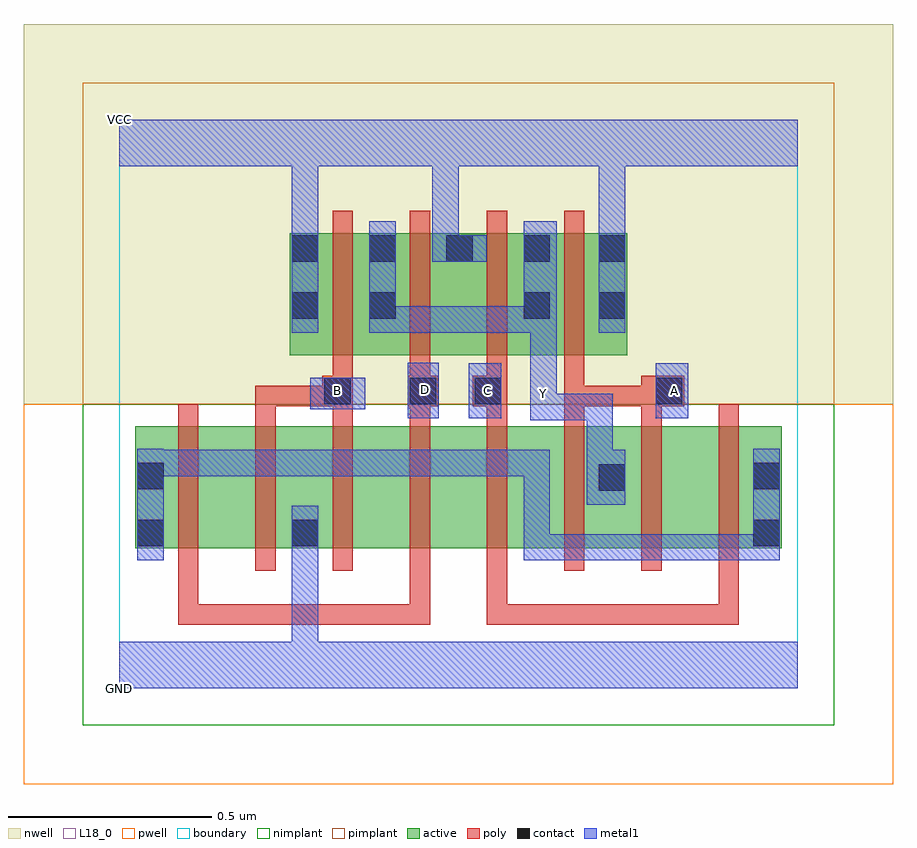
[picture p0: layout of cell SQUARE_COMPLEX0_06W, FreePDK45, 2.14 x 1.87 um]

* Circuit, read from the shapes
.subckt SQUARE_COMPLEX0_06W A B C D GND VCC Y
M1 n1 D n2 VSUBS nfet w=0.3u l=0.05u
M2 GND B n1 VSUBS nfet w=0.3u l=0.05u
M3 n3 B GND VSUBS nfet w=0.3u l=0.05u
M4 n4 D n3 VSUBS nfet w=0.3u l=0.05u
M5 n5 C n4 VSUBS nfet w=0.3u l=0.05u
M6 Y A n5 VSUBS nfet w=0.3u l=0.05u
M7 n6 A Y VSUBS nfet w=0.3u l=0.05u
M8 n2 C n6 VSUBS nfet w=0.3u l=0.05u
M9 Y B VCC n7 pfet w=0.3u l=0.05u
M10 VCC D Y n7 pfet w=0.3u l=0.05u
M11 Y C VCC n7 pfet w=0.3u l=0.05u
M12 VCC A Y n7 pfet w=0.3u l=0.05u
.ends

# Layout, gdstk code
import gdstk
lib = gdstk.Library(unit=1e-6, precision=1e-09)
def R(c, l, rs):  # rectangles x0, y0, x1, y1
    for r in rs: c.add(gdstk.rectangle(r[:2], r[2:], *l))
def A(c, l, x, y, w, h, nx, ny, dx, dy):  # array of equal rectangles
    R(c, l, [(x+i*dx, y+j*dy, x+i*dx+w, y+j*dy+h) for i in range(nx) for j in range(ny)])
active = (1, 0)
pwell = (2, 0)
nwell = (3, 0)
nimplant = (4, 0)
pimplant = (5, 0)
poly = (9, 0)
contact = (10, 0)
metal1 = (11, 0)
L18_0 = (18, 0)
boundary = (235, 0)

square_complex0_06w = lib.new_cell('SQUARE_COMPLEX0_06W')
A(square_complex0_06w, active, 0.42, 0.82, 0.075, 0.3, 4, 1, 0.19, 0)
A(square_complex0_06w, active, 0.42, 0.82, 0.265, 0.3, 3, 1, 0.19, 0)
R(square_complex0_06w, active, [(0.04,0.345,0.115,0.645), (0.04,0.345,0.265,0.645), (0.265,0.345,0.495,0.645), (0.42,0.345,0.495,0.645), (0.42,0.345,0.645,0.645), (0.645,0.345,0.835,0.645), (0.835,0.345,1.025,0.645), (1.025,0.345,1.25,0.645), (1.175,0.345,1.25,0.645), (1.175,0.345,1.405,0.645), (1.405,0.345,1.63,0.645), (1.555,0.345,1.63,0.645), (0.99,0.82,1.25,1.12), (1.175,0.82,1.25,1.12)])
R(square_complex0_06w, pwell, [(-0.235,-0.235,1.905,0.7)])
R(square_complex0_06w, nwell, [(-0.235,0.7,1.905,1.635)])
R(square_complex0_06w, nimplant, [(-0.09,-0.09,1.76,0.7)])
R(square_complex0_06w, pimplant, [(-0.09,0.7,1.76,1.49)])
A(square_complex0_06w, poly, 0.145, 0.29, 0.05, 0.41, 8, 1, 0.19, 0)
A(square_complex0_06w, poly, 0.335, 0.65, 0.05, 0.095, 6, 1, 0.19, 0)
A(square_complex0_06w, poly, 0.525, 0.72, 0.05, 0.095, 3, 1, 0.19, 0)
A(square_complex0_06w, poly, 0.525, 0.765, 0.05, 0.41, 4, 1, 0.19, 0)
R(square_complex0_06w, poly, [(0.145,0.157,0.195,0.34), (0.145,0.157,0.195,0.207), (0.145,0.157,0.327,0.207), (0.277,0.157,0.327,0.207), (0.277,0.157,0.327,0.207), (0.277,0.157,0.327,0.207), (0.277,0.157,0.517,0.207), (0.467,0.157,0.517,0.207), (0.467,0.157,0.517,0.207), (0.467,0.157,0.517,0.207), (0.467,0.157,0.765,0.207), (0.715,0.157,0.765,0.34), (0.715,0.157,0.765,0.207), (0.715,0.157,0.765,0.207), (0.715,0.157,0.765,0.207), (0.905,0.157,0.955,0.34), (0.905,0.157,0.955,0.207), (0.905,0.157,0.955,0.207), (0.905,0.157,0.955,0.207), (0.905,0.157,1.087,0.207), (1.037,0.157,1.087,0.207), (1.037,0.157,1.087,0.207), (1.037,0.157,1.087,0.207), (1.037,0.157,1.392,0.207), (1.342,0.157,1.525,0.207), (1.342,0.157,1.392,0.207), (1.342,0.157,1.392,0.207), (1.342,0.157,1.392,0.207), (1.475,0.157,1.525,0.34), (1.475,0.157,1.525,0.207), (0.335,0.695,0.385,0.745), (0.335,0.695,0.55,0.745), (0.5,0.695,0.55,0.745), (0.5,0.695,0.55,0.745), (0.5,0.695,0.575,0.77), (0.71,0.695,0.785,0.77), (0.87,0.695,0.955,0.77), (1.095,0.695,1.145,0.745), (1.095,0.695,1.145,0.745), (1.095,0.695,1.145,0.745), (1.095,0.695,1.335,0.745), (1.095,0.695,1.145,0.815), (1.285,0.695,1.39,0.77)])
A(square_complex0_06w, contact, 0.425, 1.05, 0.065, 0.065, 4, 1, 0.19, 0)
R(square_complex0_06w, contact, [(0.045,0.35,0.11,0.415), (0.425,0.35,0.49,0.415), (1.56,0.35,1.625,0.415), (1.18,0.487,1.245,0.552), (0.045,0.49,0.11,0.555), (1.56,0.49,1.625,0.555), (0.505,0.7,0.57,0.765), (0.715,0.7,0.78,0.765), (0.875,0.7,0.94,0.765), (1.32,0.7,1.385,0.765), (0.425,0.91,0.49,0.975), (0.615,0.91,0.68,0.975), (0.995,0.91,1.06,0.975), (1.18,0.91,1.245,0.975), (1.18,1.05,1.245,1.115)])
R(square_complex0_06w, metal1, [(0,0,1.67,0.115), (0.425,0.05,0.49,0.115), (0.425,0.05,0.49,0.115), (0.425,0.05,0.49,0.115), (0.425,0.05,0.49,0.115), (0.425,0.05,0.49,0.38), (0.045,0.315,0.11,0.59), (0.425,0.315,0.49,0.45), (0.995,0.315,1.06,0.38), (0.995,0.315,1.247,0.38), (0.995,0.315,1.06,0.587), (1.182,0.315,1.247,0.38), (1.182,0.315,1.247,0.38), (1.182,0.315,1.247,0.38), (1.182,0.315,1.487,0.38), (1.422,0.315,1.487,0.38), (1.422,0.315,1.487,0.38), (1.422,0.315,1.487,0.38), (1.422,0.315,1.487,0.38), (1.422,0.315,1.487,0.38), (1.422,0.315,1.625,0.38), (1.56,0.315,1.625,0.38), (1.56,0.315,1.625,0.38), (1.56,0.315,1.625,0.59), (1.15,0.452,1.245,0.587), (0.045,0.522,0.11,0.587), (0.045,0.522,0.11,0.587), (0.045,0.522,0.26,0.587), (0.195,0.522,0.26,0.587), (0.195,0.522,0.26,0.587), (0.195,0.522,0.26,0.587), (0.195,0.522,0.397,0.587), (0.332,0.522,0.397,0.587), (0.332,0.522,0.397,0.587), (0.332,0.522,0.397,0.587), (0.332,0.522,0.697,0.587), (0.632,0.522,0.697,0.587), (0.632,0.522,0.697,0.587), (0.632,0.522,0.697,0.587), (0.632,0.522,0.922,0.587), (0.857,0.522,0.922,0.587), (0.857,0.522,0.922,0.587), (0.857,0.522,0.922,0.587), (0.857,0.522,1.06,0.587), (0.995,0.522,1.06,0.587), (1.15,0.522,1.215,0.725), (1.012,0.66,1.215,0.725), (1.012,0.66,1.077,0.795), (1.15,0.66,1.215,0.725), (1.15,0.66,1.215,0.725), (1.15,0.66,1.215,0.725), (0.71,0.665,0.787,0.802), (0.86,0.665,0.94,0.8), (1.32,0.665,1.4,0.8), (0.47,0.687,0.605,0.765), (1.012,0.73,1.077,0.94), (0.425,0.875,0.49,1.15), (0.615,0.875,0.68,0.94), (0.615,0.875,0.68,0.94), (0.615,0.875,0.68,1.15), (0.615,0.875,0.835,0.94), (0.77,0.875,0.835,0.94), (0.77,0.875,1.06,0.94), (0.995,0.875,1.06,0.94), (0.995,0.875,1.06,0.94), (0.995,0.875,1.077,1.15), (1.18,0.875,1.245,1.15), (0.77,1.05,0.835,1.115), (0.77,1.05,0.835,1.115), (0.77,1.05,0.835,1.35), (0.77,1.05,0.905,1.115), (0.425,1.085,0.49,1.35), (1.18,1.085,1.245,1.35), (0,1.285,1.67,1.4), (0.425,1.285,0.49,1.35), (0.425,1.285,0.49,1.35), (1.18,1.285,1.245,1.35), (1.18,1.285,1.245,1.35)])
R(square_complex0_06w, L18_0, [(0,0,1.67,0.115), (0.425,0.05,0.49,0.115), (0.425,0.05,0.49,0.115), (0.425,0.05,0.49,0.115), (0.425,0.05,0.49,0.115), (0.425,0.05,0.49,0.38), (0.425,0.315,0.49,0.45), (1.15,0.452,1.245,0.587), (1.15,0.522,1.215,0.725), (1.012,0.66,1.077,0.795), (1.012,0.66,1.215,0.725), (1.15,0.66,1.215,0.725), (1.15,0.66,1.215,0.725), (1.15,0.66,1.215,0.725), (0.71,0.665,0.787,0.802), (0.86,0.665,0.94,0.8), (1.32,0.665,1.4,0.8), (0.47,0.687,0.605,0.765), (1.012,0.695,1.077,0.76), (0.505,0.7,0.57,0.765), (0.875,0.7,0.94,0.765), (1.335,0.7,1.4,0.765), (0.722,0.702,0.787,0.767), (1.012,0.73,1.077,0.94), (0.425,0.875,0.49,1.15), (0.615,0.875,0.68,0.94), (0.615,0.875,0.68,0.94), (0.615,0.875,0.68,1.15), (0.615,0.875,0.835,0.94), (0.77,0.875,0.835,0.94), (0.77,0.875,1.06,0.94), (0.995,0.875,1.06,0.94), (0.995,0.875,1.06,0.94), (0.995,0.875,1.077,1.15), (1.18,0.875,1.245,1.15), (0.77,1.05,0.835,1.115), (0.77,1.05,0.835,1.115), (0.77,1.05,0.905,1.115), (0.77,1.05,0.835,1.35), (0.425,1.085,0.49,1.35), (1.18,1.085,1.245,1.35), (0,1.285,1.67,1.4), (0.425,1.285,0.49,1.35), (0.425,1.285,0.49,1.35), (1.18,1.285,1.245,1.35), (1.18,1.285,1.245,1.35)])
R(square_complex0_06w, boundary, [(0,0,1.67,1.4)])
square_complex0_06w.add(gdstk.Label('A', (1.367,0.732), layer=11, texttype=0))
square_complex0_06w.add(gdstk.Label('B', (0.537,0.732), layer=11, texttype=0))
square_complex0_06w.add(gdstk.Label('C', (0.907,0.732), layer=11, texttype=0))
square_complex0_06w.add(gdstk.Label('D', (0.755,0.735), layer=11, texttype=0))
square_complex0_06w.add(gdstk.Label('Y', (1.045,0.727), layer=11, texttype=0))
square_complex0_06w.add(gdstk.Label('VCC', (0,1.4), layer=11, texttype=0))
square_complex0_06w.add(gdstk.Label('GND', (0,0), layer=11, texttype=0))

lib.write_gds('SQUARE_COMPLEX0_06W.gds')
